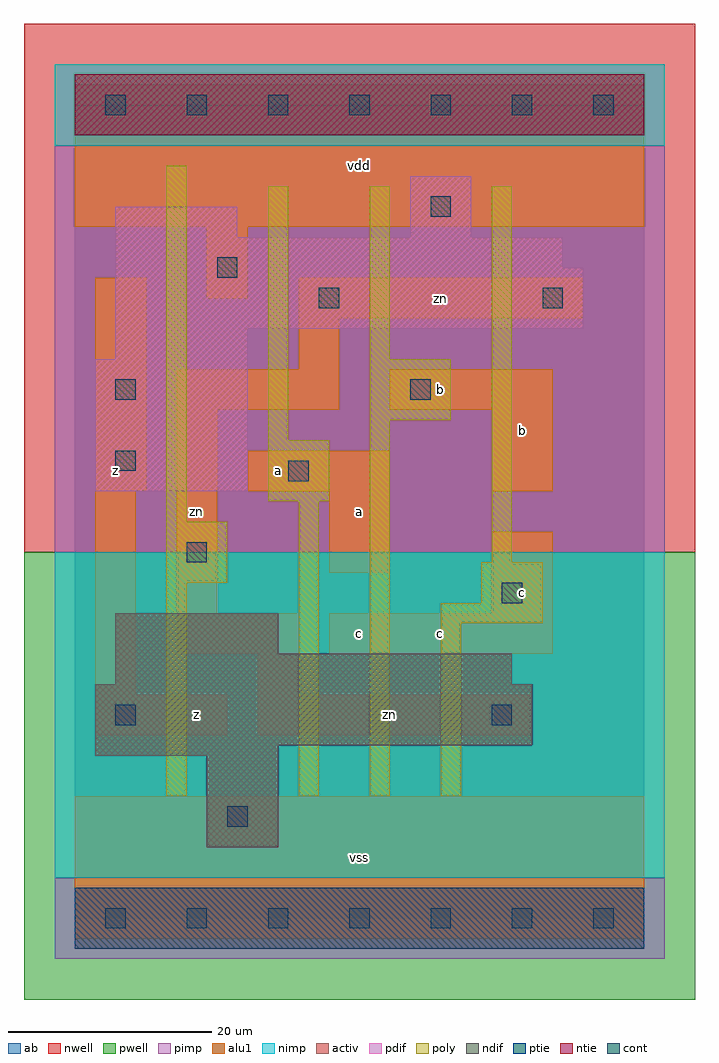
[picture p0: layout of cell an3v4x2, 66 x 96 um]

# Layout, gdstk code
import gdstk
lib = gdstk.Library(unit=1e-6, precision=1e-09)
def R(c, l, rs):  # rectangles x0, y0, x1, y1
    for r in rs: c.add(gdstk.rectangle(r[:2], r[2:], *l))
def A(c, l, x, y, w, h, nx, ny, dx, dy):  # array of equal rectangles
    R(c, l, [(x+i*dx, y+j*dy, x+i*dx+w, y+j*dy+h) for i in range(nx) for j in range(ny)])
ndif = (3, 0)
pdif = (4, 0)
ntie = (5, 0)
ptie = (6, 0)
cont = (25, 0)
pwell = (41, 0)
nwell = (42, 0)
activ = (43, 0)
pimp = (44, 0)
nimp = (45, 0)
poly = (46, 0)
alu1 = (49, 0)
ab = (63, 0)

an3v4x2 = lib.new_cell('an3v4x2')
R(an3v4x2, ndif, [(13,7,20,16), (2,16,20,17), (2,17,45,23), (4,23,43,26), (4,26,20,30)])
R(an3v4x2, pdif, [(2,42,17,55), (4,55,17,58), (4,58,50,64), (4,64,48,67), (4,67,16,70), (33,67,39,73)])
R(an3v4x2, ntie, [(0,77,56,83)])
R(an3v4x2, ptie, [(0,-3,56,3)])
A(an3v4x2, cont, 3, -1, 2, 2, 7, 2, 8, 80)
R(an3v4x2, cont, [(15,9,17,11), (4,19,6,21), (41,19,43,21), (42,31,44,33), (11,35,13,37), (21,43,23,45), (4,44,6,46), (4,51,6,53), (33,51,35,53), (24,60,26,62), (46,60,48,62), (14,63,16,65), (35,69,37,71)])
R(an3v4x2, pwell, [(-5,-8,61,36)])
R(an3v4x2, nwell, [(-5,36,61,88)])
R(an3v4x2, activ, [(0,-3,56,3), (13,7,20,16), (2,16,20,17), (2,17,45,23), (4,23,43,26), (4,26,20,30), (2,42,17,55), (4,55,17,58), (4,58,50,64), (4,64,48,67), (4,67,16,70), (33,67,39,73), (0,77,56,83)])
R(an3v4x2, pimp, [(-2,-4,58,4), (-2,36,58,76)])
R(an3v4x2, nimp, [(-2,4,58,36), (-2,76,58,84)])
R(an3v4x2, poly, [(9,12,11,33), (22,12,24,41), (29,12,31,49), (36,12,38,29), (36,29,46,31), (40,31,46,35), (9,33,15,39), (41,35,43,72), (9,39,11,74), (19,41,25,47), (19,47,21,72), (29,49,37,55), (29,55,31,72)])
R(an3v4x2, alu1, [(0,-2,56,12), (2,18,15,22), (18,18,45,22), (2,22,6,42), (18,22,22,26), (10,26,22,30), (25,26,47,30), (10,30,14,50), (41,30,47,38), (25,34,31,42), (2,42,7,63), (17,42,31,46), (41,42,47,50), (10,50,26,54), (31,50,47,54), (22,54,26,59), (22,59,50,63), (13,61,17,68), (0,68,56,82)])
R(an3v4x2, ab, [(0,0,56,80)])
an3v4x2.add(gdstk.Label('zn', (12,40), layer=49, texttype=0))
an3v4x2.add(gdstk.Label('zn', (31,20), layer=49, texttype=0))
an3v4x2.add(gdstk.Label('zn', (36,61), layer=49, texttype=0))
an3v4x2.add(gdstk.Label('z', (4,44), layer=49, texttype=0))
an3v4x2.add(gdstk.Label('z', (12,20), layer=49, texttype=0))
an3v4x2.add(gdstk.Label('a', (20,44), layer=49, texttype=0))
an3v4x2.add(gdstk.Label('vss', (28,6), layer=49, texttype=0))
an3v4x2.add(gdstk.Label('c', (28,28), layer=49, texttype=0))
an3v4x2.add(gdstk.Label('c', (36,28), layer=49, texttype=0))
an3v4x2.add(gdstk.Label('a', (28,40), layer=49, texttype=0))
an3v4x2.add(gdstk.Label('b', (36,52), layer=49, texttype=0))
an3v4x2.add(gdstk.Label('vdd', (28,74), layer=49, texttype=0))
an3v4x2.add(gdstk.Label('c', (44,32), layer=49, texttype=0))
an3v4x2.add(gdstk.Label('b', (44,48), layer=49, texttype=0))

lib.write_gds('an3v4x2.gds')
